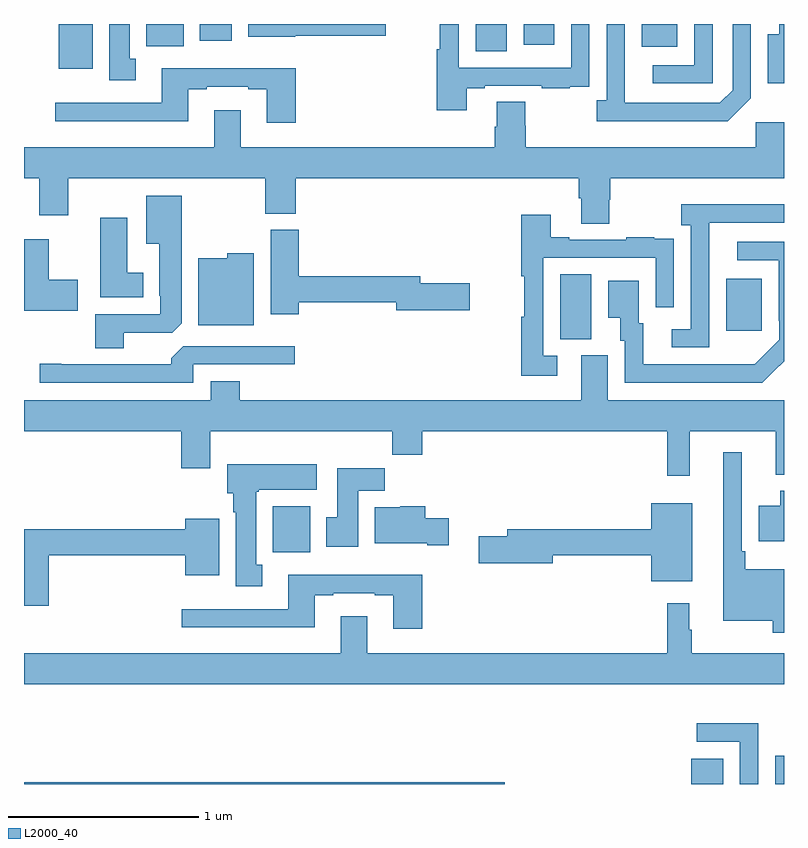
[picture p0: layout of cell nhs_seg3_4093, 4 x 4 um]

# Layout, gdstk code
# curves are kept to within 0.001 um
import gdstk
lib = gdstk.Library(unit=1e-6, precision=1e-09)
def R(c, l, rs):  # rectangles x0, y0, x1, y1
    for r in rs: c.add(gdstk.rectangle(r[:2], r[2:], *l))
def P(c, l, *ps):  # polygons
    for p in ps: c.add(gdstk.Polygon(p, *l))
L2000_40 = (2000, 40)

nhs_seg3_4093 = lib.new_cell('nhs_seg3_4093')
R(nhs_seg3_4093, L2000_40, [(327,692.4,329.53,692.408), (330.512,692.4,330.679,692.533), (330.953,692.4,331,692.548), (328.31,693.62,328.507,693.862), (329.822,694.741,329.986,695.084), (330.695,694.785,330.883,695.059), (327.182,696.164,327.361,696.4), (329.378,696.256,329.542,696.4), (330.251,696.281,330.439,696.4), (327.644,696.284,327.841,696.4), (329.63,696.291,329.791,696.4), (327.926,696.312,328.093,696.4)])
P(nhs_seg3_4093, L2000_40, [(330.825,696.009),(330.825,696.4),(330.729,696.4),(330.729,696.051),(330.663,695.985),(330.163,695.985),(330.162,696.4),(330.066,696.4),(330.066,695.998),(330.015,695.998),(330.015,695.888),(330.704,695.888)],
  [(330.624,696.4),(330.528,696.4),(330.528,696.183),(330.309,696.183),(330.309,696.087),(330.624,696.087)],
  [(327.589,696.218),(327.556,696.218),(327.556,696.4),(327.449,696.4),(327.449,696.105),(327.589,696.105)],
  [(331,696.4),(330.974,696.4),(330.974,696.346),(330.914,696.346),(330.914,696.089),(331,696.089)],
  [(329.329,696.063),(329.425,696.063),(329.425,696.075),(329.725,696.075),(329.725,696.063),(329.873,696.063),(329.873,696.069),(329.975,696.069),(329.975,696.178),(329.976,696.178),(329.976,696.4),(329.88,696.4),(329.88,696.171),(329.289,696.171),(329.289,696.4),(329.188,696.4),(329.188,696.268),(329.173,696.268),(329.173,695.946),(329.329,695.946)],
  [(328.428,696.338),(328.903,696.338),(328.903,696.4),(328.181,696.4),(328.181,696.332),(328.428,696.332)],
  [(328.43,696.166),(327.725,696.166),(327.725,695.985),(327.165,695.985),(327.165,695.888),(327.865,695.888),(327.865,696.057),(327.961,696.057),(327.961,696.069),(328.181,696.069),(328.181,696.057),(328.277,696.057),(328.277,695.88),(328.43,695.88)],
  [(330.081,695.475),(330.086,695.475),(330.086,695.588),(331,695.588),(331,695.884),(330.852,695.884),(330.852,695.752),(329.642,695.752),(329.642,695.865),(329.637,695.865),(329.637,695.99),(329.489,695.99),(329.489,695.858),(329.477,695.858),(329.477,695.752),(328.141,695.752),(328.141,695.947),(328.001,695.947),(328.001,695.752),(327,695.752),(327,695.588),(327.08,695.588),(327.08,695.394),(327.232,695.394),(327.232,695.588),(328.27,695.588),(328.27,695.401),(328.43,695.401),(328.43,695.588),(329.921,695.588),(329.921,695.482),(329.933,695.482),(329.933,695.35),(330.081,695.35)],
  [(327.526,694.776),(327.78,694.776),(327.829,694.825),(327.829,695.497),(327.644,695.497),(327.644,695.243),(327.713,695.243),(327.713,694.969),(327.717,694.969),(327.717,694.872),(327.374,694.872),(327.374,694.693),(327.526,694.693)],
  [(330.606,695.155),(330.607,695.155),(330.607,695.355),(331,695.355),(331,695.452),(330.459,695.452),(330.459,695.342),(330.51,695.342),(330.51,694.794),(330.408,694.794),(330.408,694.698),(330.606,694.698)],
  [(329.806,694.653),(329.733,694.653),(329.733,695.169),(330.324,695.169),(330.324,694.908),(330.42,694.908),(330.42,695.162),(330.419,695.162),(330.419,695.271),(330.317,695.271),(330.317,695.278),(330.169,695.278),(330.169,695.265),(329.869,695.265),(329.869,695.278),(329.773,695.278),(329.773,695.395),(329.617,695.395),(329.617,695.072),(329.632,695.072),(329.632,694.86),(329.617,694.86),(329.617,694.548),(329.806,694.548)],
  [(327.628,695.092),(327.544,695.092),(327.544,695.38),(327.401,695.38),(327.401,694.961),(327.628,694.961)],
  [(328.445,694.936),(328.958,694.936),(328.958,694.894),(329.347,694.894),(329.347,695.036),(329.086,695.036),(329.086,695.072),(328.445,695.072),(328.445,695.316),(328.298,695.316),(328.298,694.872),(328.445,694.872)],
  [(327.283,695.055),(327.13,695.055),(327.13,695.266),(327,695.266),(327,694.892),(327.283,694.892)],
  [(330.977,694.603),(330.978,694.602),(331,694.624),(331,695.253),(330.753,695.253),(330.753,695.157),(330.972,695.157),(330.972,694.837),(330.975,694.837),(330.975,694.737),(330.847,694.609),(330.259,694.608),(330.259,694.824),(330.235,694.824),(330.235,695.05),(330.074,695.05),(330.074,694.853),(330.137,694.853),(330.137,694.734),(330.162,694.734),(330.162,694.512),(330.886,694.512)],
  [(328.21,695.194),(328.071,695.194),(328.071,695.167),(327.917,695.167),(327.917,694.814),(328.21,694.814)],
  [(327.891,694.608),(328.426,694.608),(328.426,694.704),(327.837,694.704),(327.776,694.642),(327.776,694.608),(327.196,694.608),(327.196,694.613),(327.084,694.613),(327.084,694.512),(327.891,694.512)],
  [(330.503,694.256),(330.956,694.256),(330.956,694.028),(331,694.028),(331,694.42),(330.073,694.42),(330.073,694.656),(329.933,694.656),(329.933,694.42),(328.136,694.42),(328.136,694.519),(327.983,694.519),(327.983,694.42),(327,694.42),(327,694.256),(327.827,694.256),(327.827,694.062),(327.979,694.062),(327.979,694.256),(328.939,694.256),(328.939,694.132),(329.096,694.132),(329.096,694.256),(330.385,694.256),(330.385,694.023),(330.503,694.023)],
  [(331,693.529),(330.797,693.529),(330.797,693.625),(330.777,693.625),(330.777,694.147),(330.68,694.147),(330.68,693.26),(330.942,693.26),(330.942,693.195),(331,693.195)],
  [(328.255,693.554),(328.222,693.554),(328.222,693.937),(328.236,693.937),(328.236,693.95),(328.54,693.95),(328.54,694.084),(328.07,694.084),(328.07,693.93),(328.1,693.93),(328.1,693.83),(328.115,693.83),(328.115,693.441),(328.255,693.441)],
  [(328.759,693.944),(328.898,693.944),(328.898,694.063),(328.649,694.063),(328.649,693.804),(328.592,693.804),(328.592,693.648),(328.759,693.648)],
  [(331,693.943),(330.98,693.943),(330.98,693.865),(330.866,693.865),(330.866,693.677),(331,693.677)],
  [(330.517,693.877),(330.302,693.877),(330.302,693.74),(329.543,693.74),(329.543,693.704),(329.394,693.704),(329.394,693.562),(329.782,693.562),(329.782,693.604),(330.302,693.604),(330.302,693.467),(330.517,693.467)],
  [(329.236,693.798),(329.111,693.798),(329.111,693.862),(328.98,693.862),(328.98,693.856),(328.847,693.856),(328.847,693.668),(329.123,693.668),(329.123,693.656),(329.236,693.656)],
  [(327.131,693.604),(327.848,693.604),(327.848,693.5),(328.027,693.5),(328.027,693.796),(327.848,693.796),(327.848,693.74),(327,693.74),(327,693.339),(327.131,693.339)],
  [(329.096,693.502),(328.391,693.502),(328.391,693.321),(327.831,693.321),(327.831,693.224),(328.531,693.224),(328.531,693.393),(328.627,693.393),(328.627,693.405),(328.847,693.405),(328.847,693.393),(328.943,693.393),(328.943,693.216),(329.096,693.216)],
  [(331,693.088),(330.514,693.088),(330.514,693.212),(330.502,693.212),(330.502,693.352),(330.385,693.352),(330.385,693.088),(328.807,693.088),(328.807,693.283),(328.667,693.283),(328.667,693.088),(327,693.088),(327,692.924),(331,692.924)],
  [(330.864,692.72),(330.54,692.72),(330.54,692.622),(330.768,692.622),(330.768,692.4),(330.864,692.4)])

lib.write_gds('nhs_seg3_4093.gds')
